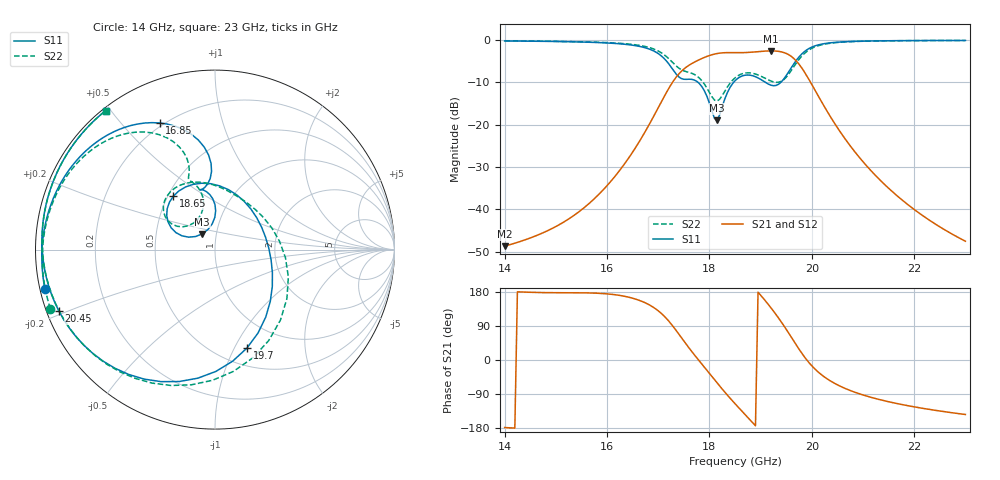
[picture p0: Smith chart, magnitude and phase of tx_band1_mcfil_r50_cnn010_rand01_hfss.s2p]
! Touchstone file exported from HFSS 3D Layout Design 2026.1.0
!  File:  D:/Work/SIM/ADS_AUTO_SIM/projects/RFSOC_RF/TX_Fillter.aedt
!  Generated:  05:05:45 AM Aug 31, 2026
!  Design:  TX_BAND1_MCFIL_R50_CNN010
!  Project:  TX_Fillter
# GHz S MA R 50.000000
! Terminal data exported
! Port[1] = Port1
! Port[2] = Port2
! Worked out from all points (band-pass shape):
!   181 points, 14 GHz to 23 GHz, reference 50 ohm
!   highest |S21| = -2.59 dB at 19.2 GHz (marker M1); lowest = -48.7 dB at 14 GHz (marker M2)
!   |S21| within 3 dB of the highest: 17.65 GHz to 19.74 GHz (2.086 GHz wide, 11.2 % of centre)
!   lowest |S11| = -19.0 dB at 18.15 GHz (marker M3), VSWR 1.25, Z = 42.7 + j7.55 ohm
!   |S11| at or under -10 dB: 17.78 GHz to 18.47 GHz (698.9 MHz wide, 3.86 % of centre); 19.09 GHz to 19.4 GHz (304.5 MHz wide, 1.58 % of centre)
!   |S22| runs from -14.4 to -0.1 dB; largest |S21 - S12| = 1.3e-14
!   S11 on the Smith chart (normalised r, x): 14 GHz: 0.01, -0.11; 16.85 GHz: 0.18, +0.64; 18.65 GHz: 0.53, +0.37; 19.7 GHz: 0.68, -1.12; 20.45 GHz: 0.03, -0.19; 23 GHz: 0.01, +0.49
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14  0.9725 -167.0  0.003691 -178.2  0.003691 -178.2  0.9746 -160.2
15.5  0.9447 162.2  0.009893 177.3  0.009893 177.3  0.9503 170.1
16.25  0.8997 140.5  0.02903 170.4  0.02903 170.4  0.9123 149.9
16.85  0.7699 113.6  0.1072 143.7  0.1072 143.7  0.805 126.1
17  0.6905 104.6  0.1582 129.9  0.1582 129.9  0.7397 118.4
17.25  0.4803 92.6  0.2962 95.6  0.2962 95.6  0.5665 107.8
17.5  0.3434 102.2  0.4529 50.2  0.4529 50.2  0.4316 110.0
17.85  0.2828 92.5  0.6026 -10.4  0.6026 -10.4  0.3314 103.8
18.15  0.1128 129.3  0.6907 -60.3  0.6907 -60.3  0.1901 128.9
18.5  0.3297 144.7  0.7076 -115.3  0.7076 -115.3  0.3566 143.5
18.65  0.3777 127.8  0.7078 -137.1  0.7078 -137.1  0.4007 131.9
18.95  0.3561 85.9  0.7265 178.9  0.7265 178.9  0.386 103.1
19.2  0.2925 37.3  0.7423 138.2  0.7423 138.2  0.3275 72.4
19.45  0.344 -21.7  0.7108 91.4  0.7108 91.4  0.3389 20.8
19.7  0.5767 -72.0  0.5621 39.0  0.5621 39.0  0.536 -47.1
19.85  0.7229 -97.6  0.424 9.4  0.424 9.4  0.6863 -81.4
20  0.8224 -118.7  0.2982 -15.2  0.2982 -15.2  0.7957 -107.9
20.2  0.8939 -139.9  0.1822 -40.1  0.1822 -40.1  0.878 -133.3
20.45  0.9348 -158.6  0.1026 -62.0  0.1026 -62.0  0.9266 -154.8
20.85  0.9617 -178.9  0.04709 -85.5  0.04709 -85.5  0.9586 -177.1
21.5  0.9772 159.5  0.0178 -110.1  0.0178 -110.1  0.9764 160.1
23  0.9852 128.2  0.004222 -143.8  0.004222 -143.8  0.9852 128.2
